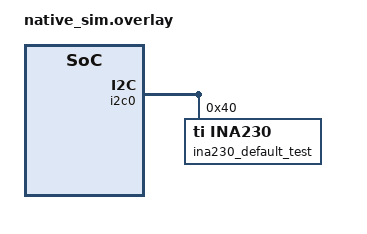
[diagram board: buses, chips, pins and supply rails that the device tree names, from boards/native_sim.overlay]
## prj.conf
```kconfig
# Copyright (c) 2023 North River Systems Ltd
# SPDX-License-Identifier: Apache-2.0

CONFIG_ZTEST=y
CONFIG_SENSOR=y
CONFIG_EMUL=y

CONFIG_I2C_EMUL=y
CONFIG_I2C_LOG_LEVEL_DBG=y

CONFIG_INA230=y

CONFIG_CBPRINTF_FP_SUPPORT=y
```

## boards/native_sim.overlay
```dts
/* Copyright (c) 2023 North River Systems Ltd
 * SPDX-License-Identifier: Apache-2.0
 */

 #include <zephyr/dt-bindings/sensor/ina230.h>

 &i2c0 {
	 status = "okay";

	/* Datasheet example and Default DT Configuration Test */
	ina230_default_test: ina230@40 {
		compatible = "ti,ina230";
		reg = <0x40>;
		rshunt-micro-ohms = <2000>;
		current-lsb-microamps = <1000>;
		status = "okay";
	};
};
```

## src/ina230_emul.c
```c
/*
 * Copyright (c) 2023 North River Systems Ltd
 *
 * SPDX-License-Identifier: Apache-2.0
 *
 * Emulator for the TI INA230 I2C power monitor
 */
#define DT_DRV_COMPAT ti_ina230

#include <zephyr/device.h>
#include <zephyr/drivers/emul.h>
#include <zephyr/drivers/i2c_emul.h>
#include <zephyr/drivers/i2c.h>
#include <zephyr/logging/log.h>
#include <zephyr/sys/byteorder.h>
#include <ina230.h>
#include <ina230_emul.h>

LOG_MODULE_REGISTER(INA230_EMUL, CONFIG_SENSOR_LOG_LEVEL);

/* Register ID, size, and value table */
struct ina230_reg {
	uint8_t id;
	uint8_t bytes;
	uint32_t value;
};

/* Emulator configuration passed into driver instance */
struct ina230_emul_cfg {
	uint16_t addr;
};

struct ina230_emul_data {
	struct ina230_reg ina230_regs[INA230_REGISTER_COUNT];
};

static struct ina230_reg *get_register(struct ina230_emul_data *data, int reg)
{
	for (int i = 0; i < INA230_REGISTER_COUNT; i++) {
		if (data->ina230_regs[i].id == reg) {
			return &data->ina230_regs[i];
		}
	}
	return NULL;
}

int ina230_mock_set_register(void *data_ptr, int reg, uint32_t value)
{
	struct ina230_reg *reg_ptr = get_register(data_ptr, reg);

	if (reg_ptr == NULL) {
		return -EINVAL;
	}

	reg_ptr->value = value;

	if (reg == INA230_REG_CONFIG) {
		/* bit 14 is always set in hardware */
		value |= 1 << 14;
	}

	return 0;
}

int ina230_mock_get_register(void *data_ptr, int reg, uint32_t *value_ptr)
{
	struct ina230_reg *reg_ptr = get_register(data_ptr, reg);

	if (reg_ptr == NULL || value_ptr == NULL) {
		return -EINVAL;
	}

	*value_ptr = reg_ptr->value;
	return 0;
}

static int ina230_emul_transfer_i2c(const struct emul *target, struct i2c_msg msgs[], int num_msgs,
				    int addr)
{
	struct ina230_emul_data *data = (struct ina230_emul_data *)target->data;

	/* The INA230 uses big-endian read 16, read 24, and write 16 transactions */
	if (!msgs || num_msgs < 1 || num_msgs > 2) {
		LOG_ERR("Invalid number of messages: %d", num_msgs);
		return -EIO;
	}

	if (msgs[0].flags & I2C_MSG_READ) {
		LOG_ERR("Expected write");
		return -EIO;
	}

	if (num_msgs == 1) {
		/* Write16 Transaction */
		if (msgs[0].len != 3) {
			LOG_ERR("Expected 3 bytes");
			return -EIO;
		}

		/* Write 2 bytes */
		uint8_t reg = msgs[0].buf[0];
		uint16_t val = sys_get_be16(&msgs[0].buf[1]);

		struct ina230_reg *reg_ptr = get_register(data, reg);

		if (!reg_ptr) {
			LOG_ERR("Invalid register: %02x", reg);
			return -EIO;
		}
		reg_ptr->value = val;
		LOG_DBG("Write reg %02x: %04x", reg, val);
	} else {
		/* Read 2 or 3 bytes */
		if ((msgs[1].flags & I2C_MSG_READ) == I2C_MSG_WRITE) {
			LOG_ERR("Expected read");
			return -EIO;
		}
		uint8_t reg = msgs[0].buf[0];

		struct ina230_reg *reg_ptr = get_register(data, reg);

		if (!reg_ptr) {
			LOG_ERR("Invalid register: %02x", reg);
			return -EIO;
		}

		if (msgs[1].len == 2) {
			sys_put_be16(reg_ptr->value, msgs[1].buf);
			LOG_DBG("Read16 reg %02x: %04x", reg, reg_ptr->value);
		} else if (msgs[1].len == 3) {
			sys_put_be24(reg_ptr->value, msgs[1].buf);
			LOG_DBG("Read24 reg %02x: %06x", reg, reg_ptr->value);
		} else {
			LOG_ERR("Invalid read length: %d", msgs[1].len);
			return -EIO;
		}
	}

	return 0;
}

static int ina230_emul_init(const struct emul *target, const struct device *parent)
{
	ARG_UNUSED(target);
	ARG_UNUSED(parent);

	return 0;
}

static const struct i2c_emul_api ina230_emul_api_i2c = {
	.transfer = ina230_emul_transfer_i2c,
};

#define INA230_EMUL(n)							\
	static const struct ina230_emul_cfg ina230_emul_cfg_##n = {	\
		.addr = DT_INST_REG_ADDR(n),				\
	};								\
	static struct ina230_emul_data ina230_emul_data_##n = {		\
		.ina230_regs = {					\
			{INA230_REG_CONFIG, 2, 0x4127},			\
			{INA230_REG_SHUNT_VOLT, 2, 0},			\
			{INA230_REG_BUS_VOLT, 2, 0},			\
			{INA230_REG_POWER, 2, 0},			\
			{INA230_REG_CURRENT, 2, 0},			\
			{INA230_REG_CALIB, 2, 0},			\
			{INA230_REG_MASK, 2, 0},			\
			{INA230_REG_ALERT, 2, 0},			\
		}};							\
	EMUL_DT_INST_DEFINE(n, ina230_emul_init, &ina230_emul_data_##n, &ina230_emul_cfg_##n,	\
			    &ina230_emul_api_i2c, NULL)

DT_INST_FOREACH_STATUS_OKAY(INA230_EMUL)
```

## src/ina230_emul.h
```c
/*
 * Copyright (c) 2023 North River Systems Ltd
 *
 * SPDX-License-Identifier: Apache-2.0
 *
 * Emulator for the TI INA230 I2C power monitor
 */
#ifndef INA230_EMUL_H_
#define INA230_EMUL_H_

#define INA230_REGISTER_COUNT 8

int ina230_mock_set_register(void *data_ptr, int reg, uint32_t value);
int ina230_mock_get_register(void *data_ptr, int reg, uint32_t *value_ptr);

#endif /* INA230_EMUL_H_ */
```

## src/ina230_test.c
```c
/*
 * Copyright (c) 2023 North River Systems Ltd
 * SPDX-License-Identifier: Apache-2.0
 */

#include <zephyr/device.h>
#include <zephyr/devicetree.h>
#include <zephyr/drivers/emul.h>
#include <zephyr/drivers/i2c_emul.h>
#include <zephyr/drivers/sensor.h>
#include <zephyr/dt-bindings/sensor/ina230.h>
#include <zephyr/ztest.h>

#include <ina230_emul.h>
#include <ina230.h>

struct ina230_fixture {
	const struct device *dev;
	const struct emul *mock;
	const uint16_t current_lsb_uA;
	const uint16_t rshunt_uOhms;
	const uint16_t config;
};

/**
 * @brief Verify devicetree default configuration is correct.
 */
ZTEST(ina230_0, test_default_config)
{
	const struct ina230_config *config;
	const struct device *dev = DEVICE_DT_GET(DT_NODELABEL(ina230_default_test));

	zassert_not_null(dev);
	config = dev->config;
	zassert_not_null(config);

	/* confirm default DT configuration */
	uint16_t expected = 0x0127;

	zexpect_equal(expected, config->config, "0x%x != config (0x%x)",
		expected, config->config);
}

static void test_datasheet_example(struct ina230_fixture *fixture)
{
	struct sensor_value sensor_val;
	double actual;

	/* only run test for datasheet example of 1mA current LSB and 2 mOhm shunt */
	if (fixture->current_lsb_uA != 1000 || fixture->rshunt_uOhms != 2000) {
		ztest_test_skip();
	}

	ina230_mock_set_register(fixture->mock->data, INA230_REG_BUS_VOLT, 9584);
	ina230_mock_set_register(fixture->mock->data, INA230_REG_CURRENT, 10000);
	ina230_mock_set_register(fixture->mock->data, INA230_REG_POWER, 4792);
	zassert_ok(sensor_sample_fetch(fixture->dev));

	zassert_ok(sensor_channel_get(fixture->dev, SENSOR_CHAN_VOLTAGE, &sensor_val));
	actual = sensor_value_to_double(&sensor_val);
	zexpect_within(11.98, actual, 1.25e-3, "Expected 11.98 V, got %.6f V", actual);

	zassert_ok(sensor_channel_get(fixture->dev, SENSOR_CHAN_CURRENT, &sensor_val));
	actual = sensor_value_to_double(&sensor_val);
	zexpect_within(10.0, actual, 1e-3, "Expected 10 A, got %.6f V", actual);

	zassert_ok(sensor_channel_get(fixture->dev, SENSOR_CHAN_POWER, &sensor_val));
	actual = sensor_value_to_double(&sensor_val);
	zexpect_within(119.82, actual, 25e-3, "Expected 119.82 W, got %.6f W", actual);
}

/**
 * @brief Verify bus voltages for all ina230 nodes in DT
 *
 * @param fixture
 */
static void test_shunt_cal(struct ina230_fixture *fixture)
{
	/* Confirm SHUNT_CAL register which is 5120e-6 / Current_LSB * Rshunt */
	double shunt_cal = 5120e-6 / (fixture->current_lsb_uA * 1e-6 *
		fixture->rshunt_uOhms * 1e-6);

	uint32_t shunt_register_actual;
	uint16_t shunt_register_expected = (uint16_t)shunt_cal;

	zassert_ok(ina230_mock_get_register(fixture->mock->data, INA230_REG_CALIB,
		&shunt_register_actual));
	zexpect_within(shunt_register_expected, shunt_register_actual, 1,
		"Expected %d, got %d", shunt_register_expected, shunt_register_actual);
}

static void test_current(struct ina230_fixture *fixture)
{
	/* 16-bit signed value for current register */
	const int16_t current_reg_vectors[] = {
		32767,
		1000,
		100,
		1,
		0,
		-1,
		-100,
		-1000,
		-32768,
	};

	for (int idx = 0; idx < ARRAY_SIZE(current_reg_vectors); idx++) {
		struct sensor_value sensor_val;
		int16_t current_register = current_reg_vectors[idx];
		double current_expected_A = fixture->current_lsb_uA * 1e-6 * current_register;

		/* set current reading */
		ina230_mock_set_register(fixture->mock->data, INA230_REG_CURRENT, current_register);

		/* Verify sensor value is correct */
		zassert_ok(sensor_sample_fetch(fixture->dev));
		zassert_ok(sensor_channel_get(fixture->dev, SENSOR_CHAN_CURRENT, &sensor_val));
		double current_actual_A = sensor_value_to_double(&sensor_val);

		zexpect_within(current_expected_A, current_actual_A, fixture->current_lsb_uA*1e-6,
			"Expected %.6f A, got %.6f A", current_expected_A, current_actual_A);
	}
}

static void test_bus_voltage(struct ina230_fixture *fixture)
{
	zassert_not_null(fixture->mock);

	/* 16-bit signed value for voltage register (but always positive) 1.25 mV/bit */
	const int16_t voltage_reg_vectors[] = {
		32767,
		28800,	/* 36V maximum voltage */
		1000,
		100,
		1,
		0,
	};

	for (int idx = 0; idx < ARRAY_SIZE(voltage_reg_vectors); idx++) {
		struct sensor_value sensor_val;

		ina230_mock_set_register(fixture->mock->data, INA230_REG_BUS_VOLT,
			voltage_reg_vectors[idx]);

		/* Verify sensor value is correct */
		zassert_ok(sensor_sample_fetch(fixture->dev));
		zassert_ok(sensor_channel_get(fixture->dev, SENSOR_CHAN_VOLTAGE, &sensor_val));

		double voltage_actual_V = sensor_value_to_double(&sensor_val);
		double voltage_expected_V = voltage_reg_vectors[idx] * 1.25e-3;

		zexpect_within(voltage_expected_V, voltage_actual_V, 1e-6,
			"Expected %.6f A, got %.6f A", voltage_expected_V, voltage_actual_V);
	}
}

static void test_power(struct ina230_fixture *fixture)
{
	/* 16-bit unsigned value for power register */
	const uint16_t power_reg_vectors[] = {
		65535,
		32767,
		10000,
		1000,
		100,
		1,
		0,
	};

	for (int idx = 0; idx < ARRAY_SIZE(power_reg_vectors); idx++) {
		struct sensor_value sensor_val;
		uint32_t power_register = power_reg_vectors[idx];

		/* power is power_register * 25 * current_lsb */
		double power_expected_W = power_register * 25 * fixture->current_lsb_uA * 1e-6;

		/* set current reading */
		ina230_mock_set_register(fixture->mock->data, INA230_REG_POWER, power_register);

		/* Verify sensor value is correct */
		zassert_ok(sensor_sample_fetch(fixture->dev));
		zassert_ok(sensor_channel_get(fixture->dev, SENSOR_CHAN_POWER, &sensor_val));
		double power_actual_W = sensor_value_to_double(&sensor_val);

		zexpect_within(power_expected_W, power_actual_W, 1e-6,
			"Expected %.6f W, got %.6f W for %d",
			power_expected_W, power_actual_W, power_register);
	}
}

/* Create a test fixture for each enabled ina230 device node */
#define DT_DRV_COMPAT ti_ina230
#define INA230_FIXTURE_ENTRY(inst) \
	{ \
		.dev = DEVICE_DT_INST_GET(inst), \
		.mock = EMUL_DT_GET(DT_DRV_INST(inst)), \
		.current_lsb_uA = DT_INST_PROP(inst, current_lsb_microamps), \
		.rshunt_uOhms = DT_INST_PROP(inst, rshunt_micro_ohms), \
		.config = DT_INST_PROP(inst, config), \
	},

static struct ina230_fixture fixtures[] = {
	DT_INST_FOREACH_STATUS_OKAY(INA230_FIXTURE_ENTRY)
};

/* Create a test suite for each enabled ina230 device node */
#define INA230_TESTS(inst) \
	ZTEST(ina230_##inst, test_datasheet_example) { test_datasheet_example(&fixtures[inst]); } \
	ZTEST(ina230_##inst, test_shunt_cal) { test_shunt_cal(&fixtures[inst]); } \
	ZTEST(ina230_##inst, test_current) { test_current(&fixtures[inst]); } \
	ZTEST(ina230_##inst, test_bus_voltage) { test_bus_voltage(&fixtures[inst]); } \
	ZTEST(ina230_##inst, test_power) { test_power(&fixtures[inst]); } \
	ZTEST_SUITE(ina230_##inst, NULL, NULL, NULL, NULL, NULL);

DT_INST_FOREACH_STATUS_OKAY(INA230_TESTS)
```
